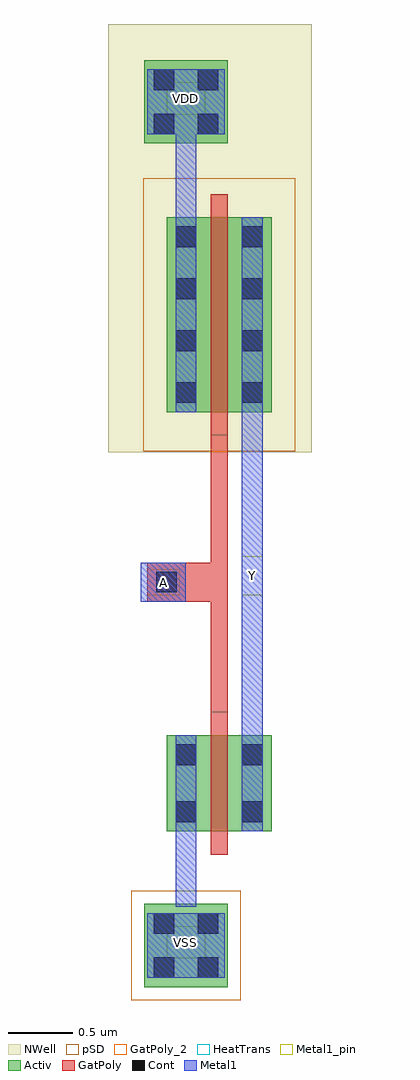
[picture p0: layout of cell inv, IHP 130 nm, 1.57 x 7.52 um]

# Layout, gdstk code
import gdstk
lib = gdstk.Library(unit=1e-6, precision=1e-09)
def R(c, l, rs):  # rectangles x0, y0, x1, y1
    for r in rs: c.add(gdstk.rectangle(r[:2], r[2:], *l))
def A(c, l, x, y, w, h, nx, ny, dx, dy):  # array of equal rectangles
    R(c, l, [(x+i*dx, y+j*dy, x+i*dx+w, y+j*dy+h) for i in range(nx) for j in range(ny)])
Activ = (1, 0)
GatPoly = (5, 0)
GatPoly_2 = (5, 2)
Cont = (6, 0)
Metal1 = (8, 0)
Metal1_pin = (8, 2)
pSD = (14, 0)
NWell = (31, 0)
HeatTrans = (51, 0)

via_stack = lib.new_cell('via_stack')
R(via_stack, Activ, [(-0.32,-0.32,0.32,0.32)])
R(via_stack, Cont, [(-0.25,-0.25,-0.09,-0.09), (0.09,-0.25,0.25,-0.09), (-0.25,0.09,-0.09,0.25), (0.09,0.09,0.25,0.25)])
R(via_stack, Metal1, [(-0.3,-0.25,0.3,0.25)])

via_stack_1 = lib.new_cell('via_stack$1')
R(via_stack_1, GatPoly, [(-0.15,-0.15,0.15,0.15)])
R(via_stack_1, Cont, [(-0.08,-0.08,0.08,0.08)])
R(via_stack_1, Metal1, [(-0.13,-0.08,0.13,0.08)])

nmos = lib.new_cell('nmos')
R(nmos, Activ, [(0,0,0.3,0.3), (0,0,0.81,0.74), (0.51,0,0.81,0.3)])
R(nmos, GatPoly, [(0.34,-0.18,0.47,0.92)])
R(nmos, GatPoly_2, [(0.34,-0.18,0.47,0.92)])
R(nmos, Cont, [(0.07,0.07,0.23,0.23), (0.58,0.07,0.74,0.23), (0.07,0.51,0.23,0.67), (0.58,0.51,0.74,0.67)])
R(nmos, Metal1, [(0.07,0,0.23,0.74), (0.58,0,0.74,0.74)])
R(nmos, Metal1_pin, [(0.07,0,0.23,0.74), (0.58,0,0.74,0.74)])
R(nmos, HeatTrans, [(0.34,-0.18,0.47,0.92)])
nmos.add(gdstk.Label('nmos', (0.405,0.37), layer=63, texttype=0))
nmos.add(gdstk.Label('nmos', (0.405,0.37), layer=51, texttype=0))

pmos = lib.new_cell('pmos')
R(pmos, Activ, [(0,0,0.3,0.3), (0,0,0.81,1.5), (0.51,0,0.81,0.3)])
R(pmos, GatPoly, [(0.34,-0.18,0.47,1.68), (0.34,-0.18,0.47,1.68)])
A(pmos, Cont, 0.07, 0.07, 0.16, 0.16, 1, 4, 0, 0.4)
A(pmos, Cont, 0.58, 0.07, 0.16, 0.16, 1, 4, 0, 0.4)
R(pmos, Metal1, [(0.07,0,0.23,1.5), (0.07,0,0.23,1.5), (0.58,0,0.74,1.5), (0.58,0,0.74,1.5)])
R(pmos, pSD, [(-0.18,-0.3,0.99,1.8)])
R(pmos, NWell, [(-0.31,-0.31,1.12,1.81)])
R(pmos, HeatTrans, [(0.34,-0.18,0.47,1.68)])
pmos.add(gdstk.Label('pmos', (0.405,0.75), layer=63, texttype=0))
pmos.add(gdstk.Label('pmos', (0.405,0.75), layer=51, texttype=0))

inv = lib.new_cell('inv')
R(inv, GatPoly, [(0.34,1.1,0.47,3.23), (0.15,1.95,0.34,2.25)])
R(inv, Metal1, [(0.07,-0.4,0.23,0.18), (0.58,0.92,0.74,3.41), (-0.2,1.95,0.15,2.25), (0.07,4.91,0.23,5.65)])
R(inv, Metal1_pin, [(0,-0.8,0.3,-0.55), (-0.15,2,0.1,2.2), (0.58,2,0.74,2.3), (0,5.7,0.3,5.95)])
R(inv, pSD, [(-0.27,-1.12,0.57,-0.28)])
R(inv, NWell, [(-0.45,3.1,1.12,6.4)])
inv.add(gdstk.Reference(via_stack, (0.15,-0.7)))
inv.add(gdstk.Reference(via_stack, (0.15,5.8)))
inv.add(gdstk.Reference(via_stack_1, (0,2.1)))
inv.add(gdstk.Reference(nmos, (0,0.18)))
inv.add(gdstk.Reference(pmos, (0,3.41)))
inv.add(gdstk.Label('A', (-0.025,2.1), layer=8, texttype=25))
inv.add(gdstk.Label('Y', (0.66,2.15), layer=8, texttype=25))
inv.add(gdstk.Label('VSS', (0.15,-0.675), layer=8, texttype=25))
inv.add(gdstk.Label('VDD', (0.15,5.825), layer=8, texttype=25))

lib.write_gds('inv.gds')
